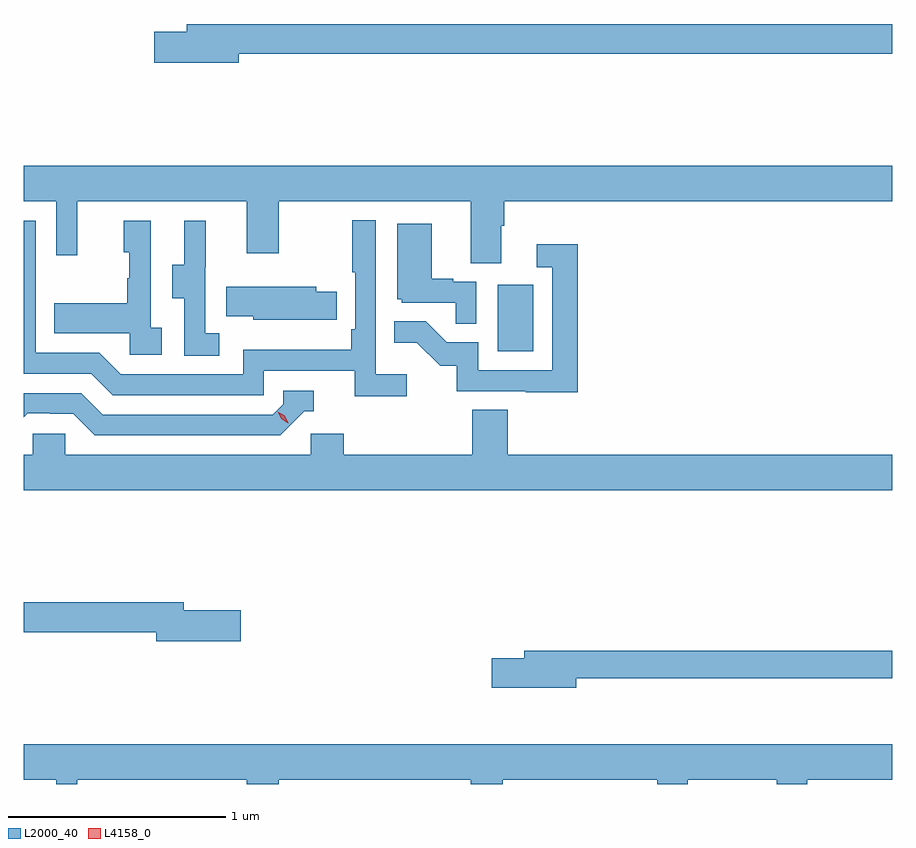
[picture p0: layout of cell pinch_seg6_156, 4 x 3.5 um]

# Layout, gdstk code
import gdstk
lib = gdstk.Library(unit=1e-6, precision=1e-09)
def R(c, l, rs):  # rectangles x0, y0, x1, y1
    for r in rs: c.add(gdstk.rectangle(r[:2], r[2:], *l))
def P(c, l, *ps):  # polygons
    for p in ps: c.add(gdstk.Polygon(p, *l))
L2000_40 = (2000, 40)
L4158_0 = (4158, 0)

pinch_seg6_156 = lib.new_cell('pinch_seg6_156')
R(pinch_seg6_156, L2000_40, [(962.564,935.988,962.728,936.295)])
P(pinch_seg6_156, L2000_40, [(961.372,937.36),(964.382,937.36),(964.382,937.496),(961.133,937.496),(961.133,937.46),(960.984,937.46),(960.984,937.318),(961.372,937.318)],
  [(962.581,936.568),(962.594,936.568),(962.594,936.68),(964.382,936.68),(964.382,936.844),(960.382,936.844),(960.382,936.68),(960.531,936.68),(960.531,936.432),(960.629,936.432),(960.629,936.68),(961.409,936.68),(961.409,936.441),(961.557,936.441),(961.557,936.68),(962.441,936.68),(962.441,936.394),(962.581,936.394)],
  [(962.146,935.884),(962.004,935.884),(962.004,936.592),(961.896,936.592),(961.896,936.352),(961.908,936.352),(961.908,936.091),(961.891,936.091),(961.891,935.995),(961.392,935.995),(961.392,935.883),(960.828,935.883),(960.729,935.982),(960.438,935.982),(960.438,936.591),(960.382,936.591),(960.382,935.886),(960.692,935.886),(960.791,935.787),(961.488,935.787),(961.488,935.898),(961.907,935.898),(961.907,935.782),(962.146,935.782)],
  [(961.282,936.071),(961.218,936.071),(961.218,936.375),(961.22,936.375),(961.22,936.589),(961.121,936.589),(961.121,936.387),(961.067,936.387),(961.067,936.232),(961.122,936.232),(961.122,935.968),(961.282,935.968)],
  [(961.018,936.098),(960.966,936.098),(960.966,936.589),(960.842,936.589),(960.842,936.444),(960.868,936.444),(960.868,936.326),(960.858,936.326),(960.858,936.211),(960.523,936.211),(960.523,936.071),(960.87,936.071),(960.87,935.973),(961.018,935.973)],
  [(962.466,936.309),(962.36,936.309),(962.36,936.322),(962.26,936.322),(962.26,936.577),(962.102,936.577),(962.102,936.228),(962.124,936.228),(962.124,936.213),(962.371,936.213),(962.371,936.115),(962.466,936.115)],
  [(962.933,936.481),(962.745,936.481),(962.745,936.375),(962.817,936.375),(962.817,935.901),(962.475,935.901),(962.475,936.03),(962.331,936.03),(962.233,936.128),(962.089,936.128),(962.089,936.029),(962.193,936.029),(962.3,935.922),(962.377,935.922),(962.377,935.805),(962.695,935.805),(962.695,935.8),(962.933,935.8)],
  [(961.712,936.135),(961.823,936.135),(961.823,936.264),(961.729,936.264),(961.729,936.286),(961.315,936.286),(961.315,936.149),(961.44,936.149),(961.44,936.134),(961.712,936.134)],
  [(961.674,935.712),(961.717,935.712),(961.717,935.808),(961.578,935.808),(961.578,935.745),(961.53,935.697),(960.747,935.697),(960.648,935.796),(960.382,935.796),(960.382,935.684),(960.401,935.703),(960.504,935.703),(960.504,935.7),(960.611,935.7),(960.71,935.601),(961.563,935.601)],
  [(964.382,935.512),(962.612,935.512),(962.612,935.72),(962.447,935.72),(962.447,935.512),(961.856,935.512),(961.856,935.61),(961.704,935.61),(961.704,935.512),(960.573,935.512),(960.573,935.61),(960.423,935.61),(960.423,935.512),(960.382,935.512),(960.382,935.348),(964.382,935.348)],
  [(961.381,934.796),(961.12,934.796),(961.12,934.832),(960.382,934.832),(960.382,934.696),(960.992,934.696),(960.992,934.654),(961.381,934.654)],
  [(962.926,934.482),(964.382,934.482),(964.382,934.61),(962.687,934.61),(962.687,934.574),(962.538,934.574),(962.538,934.439),(962.926,934.439)],
  [(960.629,934.016),(961.409,934.016),(961.409,933.996),(961.557,933.996),(961.557,934.016),(962.441,934.016),(962.441,933.996),(962.589,933.996),(962.589,934.016),(963.299,934.016),(963.299,933.996),(963.439,933.996),(963.439,934.016),(963.851,934.016),(963.851,933.996),(963.991,933.996),(963.991,934.016),(964.382,934.016),(964.382,934.18),(960.382,934.18),(960.382,934.016),(960.531,934.016),(960.531,933.996),(960.629,933.996)])
P(pinch_seg6_156, L4158_0, [(961.6,935.658),(961.569,935.677),(961.553,935.71),(961.553,935.71),(961.553,935.71),(961.584,935.691),(961.6,935.658),(961.6,935.658)])

lib.write_gds('pinch_seg6_156.gds')
